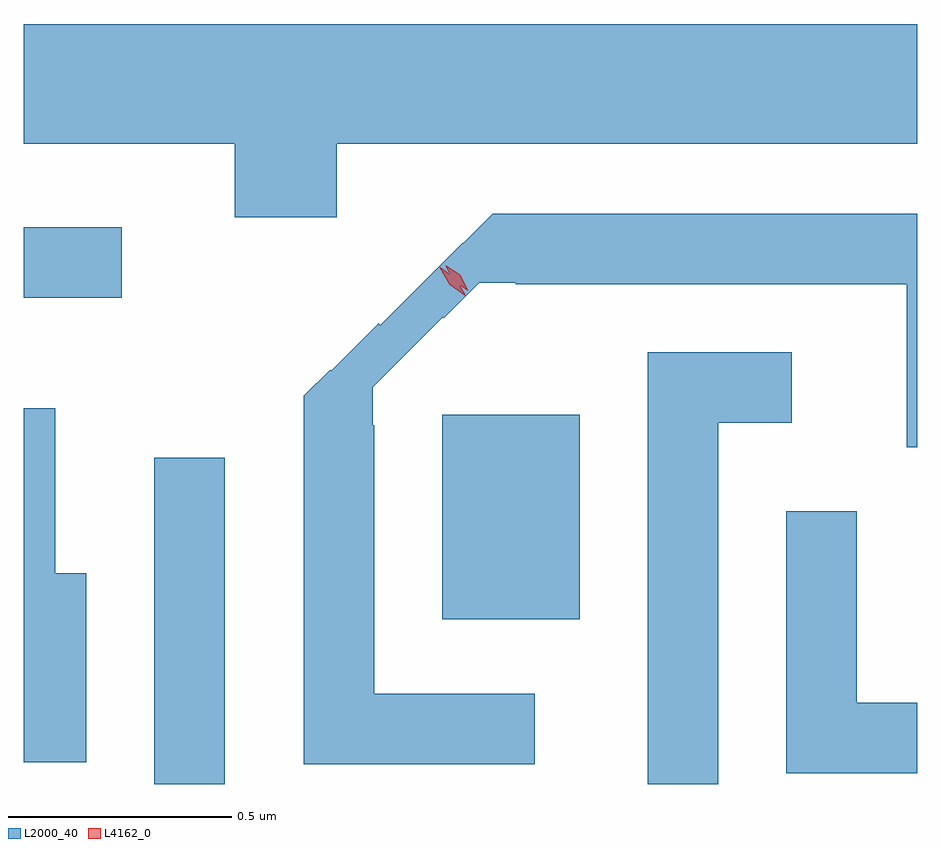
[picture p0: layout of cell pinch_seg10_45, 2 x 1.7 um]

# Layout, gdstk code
import gdstk
lib = gdstk.Library(unit=1e-6, precision=1e-09)
def R(c, l, rs):  # rectangles x0, y0, x1, y1
    for r in rs: c.add(gdstk.rectangle(r[:2], r[2:], *l))
def P(c, l, *ps):  # polygons
    for p in ps: c.add(gdstk.Polygon(p, *l))
L2000_40 = (2000, 40)
L4162_0 = (4162, 0)

pinch_seg10_45 = lib.new_cell('pinch_seg10_45')
R(pinch_seg10_45, L2000_40, [(595.736,2167.982,595.894,2168.713), (596.381,2168.351,596.689,2168.809), (595.444,2169.071,595.663,2169.229)])
P(pinch_seg10_45, L2000_40, [(596.144,2169.416),(597.444,2169.416),(597.444,2169.684),(595.444,2169.684),(595.444,2169.416),(595.916,2169.416),(595.916,2169.251),(596.144,2169.251)],
  [(596.588,2168.184),(596.229,2168.184),(596.229,2168.785),(596.225,2168.785),(596.225,2168.87),(596.382,2169.027),(596.384,2169.025),(596.464,2169.105),(596.545,2169.105),(596.545,2169.101),(597.421,2169.101),(597.421,2168.736),(597.444,2168.736),(597.444,2169.259),(596.494,2169.259),(596.428,2169.193),(596.427,2169.194),(596.242,2169.009),(596.238,2169.014),(596.132,2168.908),(596.13,2168.91),(596.071,2168.851),(596.071,2168.026),(596.588,2168.026)],
  [(596.999,2168.791),(597.163,2168.791),(597.163,2168.949),(596.841,2168.949),(596.841,2167.982),(596.999,2167.982)],
  [(595.584,2168.454),(595.514,2168.454),(595.514,2168.824),(595.444,2168.824),(595.444,2168.031),(595.584,2168.031)],
  [(597.444,2168.164),(597.309,2168.164),(597.309,2168.593),(597.151,2168.593),(597.151,2168.006),(597.444,2168.006)])
P(pinch_seg10_45, L4162_0, [(596.437,2169.088),(596.406,2169.109),(596.389,2169.142),(596.389,2169.143),(596.39,2169.143),(596.421,2169.122),(596.438,2169.088),(596.438,2169.088)],
  [(596.432,2169.075),(596.397,2169.1),(596.375,2169.138),(596.375,2169.139),(596.376,2169.139),(596.412,2169.114),(596.433,2169.075),(596.433,2169.075)])

lib.write_gds('pinch_seg10_45.gds')
